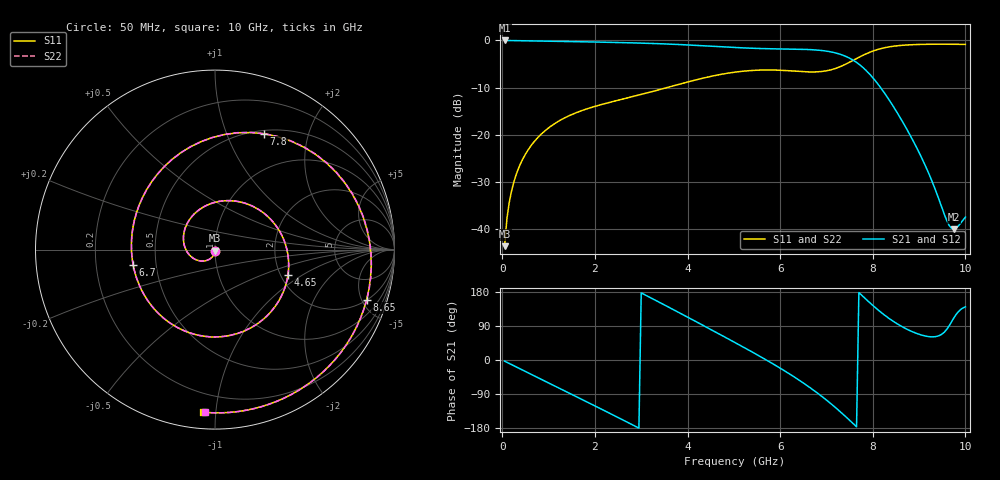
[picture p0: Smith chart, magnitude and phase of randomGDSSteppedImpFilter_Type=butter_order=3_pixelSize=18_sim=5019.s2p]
! freq	dB(S11)	phase(S11)	dB(S12)	phase(S12)
!  dB(S21)	phase(S21)	dB(S22)	phase(S22)
!S-par simulation data
#  GHz  S  DB  R 50
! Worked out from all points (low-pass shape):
!   200 points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, 50 MHz to 10 GHz, reference 50 ohm
!   highest |S21| = 0.00 dB at 50 MHz (marker M1); lowest = -39.9 dB at 9.75 GHz (marker M2)
!   |S21| within 3 dB of the highest: start of sweep to 7.32 GHz
!   lowest |S11| = -43.5 dB at 50 MHz (marker M3), VSWR 1.01, Z = 50 - j0.665 ohm
!   |S11| at or under -10 dB: start of sweep to 3.55 GHz
!   |S22| runs from -43.6 to -0.8 dB; largest |S21 - S12| = 0
!   S11 on the Smith chart (normalised r, x): 50 MHz: 1.00, -0.01; 4.65 GHz: 2.19, -0.77; 6.7 GHz: 0.37, -0.08; 7.8 GHz: 0.54, +1.37; 8.65 GHz: 2.04, -5.46; 10 GHz: 0.09, -0.92
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0.05  -43.55 -91.0  -0.00 -3.1  -0.00 -3.1  -43.59 -91.8
0.1  -37.74 -94.3  -0.01 -6.1  -0.01 -6.1  -37.72 -94.5
0.2  -31.86 -101.2  -0.03 -12.2  -0.03 -12.2  -31.89 -101.1
0.5  -24.07 -120.5  -0.07 -30.3  -0.07 -30.3  -24.08 -120.4
1.15  -17.48 -160.5  -0.17 -69.6  -0.17 -69.6  -17.48 -160.1
1.75  -14.73 163.0  -0.28 -105.8  -0.28 -105.8  -14.73 163.5
2.65  -12.30 107.7  -0.47 -161.0  -0.47 -161.0  -12.29 108.3
3.4  -10.40 60.7  -0.69 151.8  -0.69 151.8  -10.40 61.1
4.05  -8.68 19.3  -0.98 110.0  -0.98 110.0  -8.68 19.5
4.65  -7.31 -19.3  -1.30 70.8  -1.30 70.8  -7.32 -19.5
5.05  -6.68 -45.5  -1.51 44.4  -1.51 44.4  -6.68 -45.8
5.9  -6.28 -103.8  -1.79 -14.2  -1.79 -14.2  -6.28 -104.5
6.3  -6.49 -134.4  -1.84 -44.4  -1.84 -44.4  -6.49 -135.3
6.7  -6.67 -169.1  -1.97 -77.8  -1.97 -77.8  -6.67 -170.2
7  -6.43 161.0  -2.26 -105.7  -2.26 -105.7  -6.42 160.1
7.35  -5.33 121.7  -3.11 -142.2  -3.11 -142.2  -5.31 121.1
7.8  -3.09 67.0  -5.84 166.4  -5.84 166.4  -3.07 67.0
8.35  -1.37 7.2  -12.54 109.8  -12.54 109.8  -1.36 7.6
8.65  -1.02 -18.3  -17.32 86.8  -17.32 86.8  -1.01 -17.7
9.15  -0.82 -51.8  -26.83 62.9  -26.83 62.9  -0.81 -51.1
9.75  -0.81 -83.0  -39.94 110.9  -39.94 110.9  -0.81 -82.3
10  -0.84 -94.3  -37.39 140.3  -37.39 140.3  -0.83 -93.7
